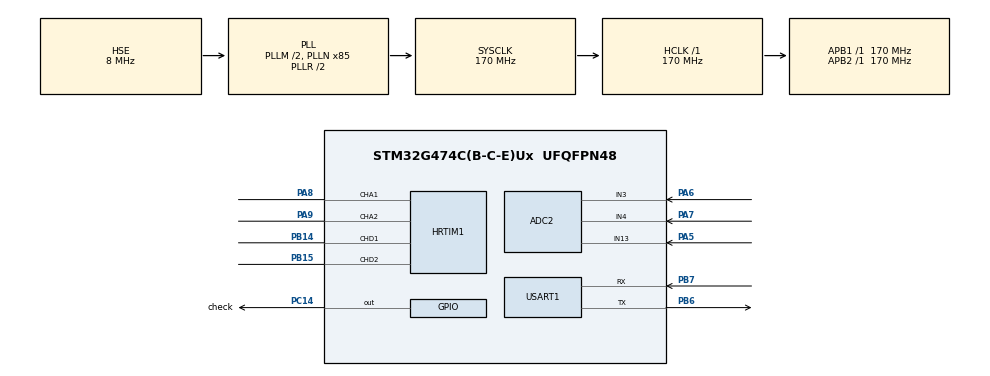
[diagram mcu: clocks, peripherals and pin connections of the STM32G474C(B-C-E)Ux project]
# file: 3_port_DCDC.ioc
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ADC2.Channel-0\#ChannelRegularConversion=ADC_CHANNEL_13
ADC2.Channel-1\#ChannelRegularConversion=ADC_CHANNEL_3
ADC2.Channel-2\#ChannelRegularConversion=ADC_CHANNEL_4
ADC2.DMAContinuousRequests=ENABLE
ADC2.EOCSelection=ADC_EOC_SEQ_CONV
ADC2.ExternalTrigConv=ADC_EXTERNALTRIG_T2_CC2
ADC2.NbrOfConversion=3
ADC2.NbrOfConversionFlag=1
ADC2.OffsetNumber-0\#ChannelRegularConversion=ADC_OFFSET_NONE
ADC2.OffsetNumber-1\#ChannelRegularConversion=ADC_OFFSET_NONE
ADC2.OffsetNumber-2\#ChannelRegularConversion=ADC_OFFSET_NONE
ADC2.OversamplingMode=DISABLE
ADC2.Rank-0\#ChannelRegularConversion=1
ADC2.Rank-1\#ChannelRegularConversion=2
ADC2.Rank-2\#ChannelRegularConversion=3
ADC2.SamplingTime-0\#ChannelRegularConversion=ADC_SAMPLETIME_47CYCLES_5
ADC2.SamplingTime-1\#ChannelRegularConversion=ADC_SAMPLETIME_47CYCLES_5
ADC2.SamplingTime-2\#ChannelRegularConversion=ADC_SAMPLETIME_47CYCLES_5
Dma.ADC2.0.Direction=DMA_PERIPH_TO_MEMORY
Dma.ADC2.0.EventEnable=DISABLE
Dma.ADC2.0.Instance=DMA1_Channel1
Dma.ADC2.0.MemDataAlignment=DMA_MDATAALIGN_HALFWORD
Dma.ADC2.0.MemInc=DMA_MINC_ENABLE
Dma.ADC2.0.Mode=DMA_CIRCULAR
Dma.ADC2.0.PeriphDataAlignment=DMA_PDATAALIGN_HALFWORD
Dma.ADC2.0.PeriphInc=DMA_PINC_DISABLE
Dma.ADC2.0.Polarity=HAL_DMAMUX_REQ_GEN_RISING
Dma.ADC2.0.Priority=DMA_PRIORITY_VERY_HIGH
Dma.ADC2.0.RequestNumber=1
Dma.ADC2.0.SignalID=NONE
Dma.ADC2.0.SyncEnable=DISABLE
Dma.ADC2.0.SyncPolarity=HAL_DMAMUX_SYNC_NO_EVENT
Dma.ADC2.0.SyncRequestNumber=1
Dma.ADC2.0.SyncSignalID=NONE
Dma.Request0=ADC2
HRTIM1.CompareUnit1-Output_TA1TA2=HRTIM_COMPAREUNIT_1
HRTIM1.CompareUnit1-Output_TD1TD2=HRTIM_COMPAREUNIT_1
HRTIM1.CompareUnit2-Output_TA1TA2=__NULL
HRTIM1.CompareValue1-Output_TA1TA2=30000
HRTIM1.CompareValue1-Output_TD1TD2=(65503*0.5)
HRTIM1.DeadTimeInsertion-Output_TA1TA2=HRTIM_TIMDEADTIMEINSERTION_ENABLED
HRTIM1.DeadTimeInsertion-Output_TD1TD2=HRTIM_TIMDEADTIMEINSERTION_ENABLED
HRTIM1.NumberInterruptRequests-Output_TA1TA2=0
HRTIM1.NumberResetSource1-Output_TA1TA2=1
HRTIM1.NumberResetSource1-Output_TD1TD2=1
HRTIM1.NumberSetSource1-Output_TA1TA2=1
HRTIM1.NumberSetSource1-Output_TD1TD2=1
HRTIM1.NumberUpdateTrigger-Output_TA1TA2=0
HRTIM1.Periode_TA=65503
HRTIM1.Periode_TD=65503
HRTIM1.PreloadEnable-Output_TA1TA2=HRTIM_PRELOAD_ENABLED
HRTIM1.PreloadEnable-Output_TD1TD2=HRTIM_PRELOAD_ENABLED
HRTIM1.PrescalerRatio_TA=HRTIM_PRESCALERRATIO_MUL16
HRTIM1.PrescalerRatio_TD=HRTIM_PRESCALERRATIO_MUL16
HRTIM1.RepetitionUpdate-Output_TA1TA2=HRTIM_UPDATEONREPETITION_ENABLED
HRTIM1.RepetitionUpdate-Output_TD1TD2=HRTIM_UPDATEONREPETITION_ENABLED
HRTIM1.ResetOutput1_Source1-Output_TA1TA2=HRTIM_OUTPUTRESET_TIMCMP1
HRTIM1.ResetOutput1_Source1-Output_TD1TD2=HRTIM_OUTPUTRESET_TIMCMP1
HRTIM1.SetOutput1_Source1-Output_TA1TA2=HRTIM_OUTPUTSET_TIMPER
HRTIM1.SetOutput1_Source1-Output_TD1TD2=HRTIM_OUTPUTSET_TIMPER
Mcu.Family=STM32G4
Mcu.Name=STM32G474C(B-C-E)Ux
Mcu.Package=UFQFPN48
NVIC.DMA1_Channel1_IRQn=true\:0\:0\:false\:false\:true\:false\:true\:true
NVIC.PriorityGroup=NVIC_PRIORITYGROUP_4
PA5.Mode=IN13-Single-Ended
PA5.Signal=ADC2_IN13
PA6.Mode=IN3-Single-Ended
PA6.Signal=ADC2_IN3
PA7.Mode=IN4-Single-Ended
PA7.Signal=ADC2_IN4
PA8.Mode=Output_TA1TA2
PA8.Signal=HRTIM1_CHA1
PA9.Mode=Output_TA1TA2
PA9.Signal=HRTIM1_CHA2
PB14.Mode=Output_TD1TD2
PB14.Signal=HRTIM1_CHD1
PB15.Mode=Output_TD1TD2
PB15.Signal=HRTIM1_CHD2
PB6.Mode=Asynchronous
PB6.Signal=USART1_TX
PB7.Mode=Asynchronous
PB7.Signal=USART1_RX
PC14-OSC32_IN.GPIO_Label=check
PC14-OSC32_IN.Signal=GPIO_Output
PF0-OSC_IN.Mode=HSE-External-Oscillator
PF0-OSC_IN.Signal=RCC_OSC_IN
PF1-OSC_OUT.Mode=HSE-External-Oscillator
PF1-OSC_OUT.Signal=RCC_OSC_OUT
ProjectManager.HeapSize=0x400
ProjectManager.StackSize=0x800
ProjectManager.TargetToolchain=MDK-ARM V5.32
RCC.ADC12Freq_Value=170000000
RCC.ADC345Freq_Value=170000000
RCC.AHBFreq_Value=170000000
RCC.APB1Freq_Value=170000000
RCC.APB1TimFreq_Value=170000000
RCC.APB2Freq_Value=170000000
RCC.APB2TimFreq_Value=170000000
RCC.CortexFreq_Value=170000000
RCC.EXTERNAL_CLOCK_VALUE=12288000
RCC.HCLKFreq_Value=170000000
RCC.HSE_VALUE=8000000
RCC.HSI48_VALUE=48000000
RCC.HSI_VALUE=16000000
RCC.LSE_VALUE=32768
RCC.PLLM=RCC_PLLM_DIV2
RCC.PLLN=85
RCC.PLLSourceVirtual=RCC_PLLSOURCE_HSE
RCC.SYSCLKFreq_VALUE=170000000
RCC.SYSCLKSource=RCC_SYSCLKSOURCE_PLLCLK
RCC.USBFreq_Value=170000000
RCC.VCOOutputFreq_Value=340000000
TIM2.AutoReloadPreload=TIM_AUTORELOAD_PRELOAD_ENABLE
TIM2.Channel-PWM\ Generation2\ No\ Output=TIM_CHANNEL_2
TIM2.OCFastMode_PWM-PWM\ Generation2\ No\ Output=TIM_OCFAST_ENABLE
TIM2.PeriodNoDither=1000000-1
TIM2.Prescaler=170-1
TIM2.PulseNoDither_2=1000
TIM2.TIM_MasterOutputTrigger=TIM_TRGO_OC2REF
USART1.VirtualMode-Asynchronous=VM_ASYNC
VP_SYS_VS_DBSignals.Mode=DisableDeadBatterySignals
VP_TIM2_VS_ClockSourceINT.Mode=Internal
VP_TIM2_VS_no_output2.Mode=PWM Generation2 No Output
board=custom

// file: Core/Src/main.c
/* USER CODE BEGIN Header */
/**
 ******************************************************************************
 * @file           : main.c
 * @brief          : Main program body
 ******************************************************************************
 * @attention
 *
 * Copyright (c) 2023 STMicroelectronics.
 * All rights reserved.
 *
 * This software is licensed under terms that can be found in the LICENSE file
 * in the root directory of this software component.
 * If no LICENSE file comes with this software, it is provided AS-IS.
 *
 ******************************************************************************
 */
/* USER CODE END Header */
#include "main.h"
#include "adc.h"
#include "dma.h"
#include "hrtim.h"
#include "tim.h"
#include "usart.h"
#include "gpio.h"

/* USER CODE BEGIN Includes */
#include "utils.h"
#include "arm_math.h"
/* USER CODE END Includes */

void SystemClock_Config(void);
/* USER CODE BEGIN PFP */
uint16_t adc_buffer[30] = {0};
#define adc_average(a, b, c, d, e) (((float)((a) + (b) + (c) + (d) + (e))) / 5.0f)
float VBus_Voltage = 0;
float V_battery = 0;
float I_battery = 0;
float duty_inspector = 0;
float R_inspector = 0;
float error_inspector = 0;
int counter = 0;
int perfom_counter = 0;

arm_pid_instance_f32 PID_Voltage = {
    .Kp = -100,
    .Ki = 100,
    .Kd = 0
};

int deadtime_rise = 40;
int deadtime_fall = 40;

/* USER CODE END PFP */

/* USER CODE BEGIN 0 */
float pid_process(arm_pid_instance_f32 *pid, float aim, float current, float out_max, float out_min)
{
  float out = 0;

  arm_pid_init_f32(pid, 0);

  error_inspector = (current - aim);

  out = arm_pid_f32(pid, (current - aim));

  // 进行pwm输出限幅

  if (out > out_max)
  {
    out = out_max;
  }
  else if (out < out_min)
  {
    out = out_min;
  }

  return out;
}
float mqtt_fake_value(float V, float I)
{
  return V / I;
}
typedef struct
{
  enum
  {
    MPPT_rising_step_len = 1,
    MPPT_falling_step_len = 1,
    MPPT_stable_step_len = 1,
  } step_len; // 步长

  // Power
  float Power_last;
  float Power_current;
  float delta_Power;
  float delta_Power_min_thereshold; // 配置参数

  // voltage
  float Voltage_last;
  float Voltage_current;
  float delta_Voltage;
  float delta_Voltage_min_thereshold; // 配置参数

  float out;
  float a; // 输出系数

  float step_size;
  float update_thereshold; // 因为adc有晃动，所以如果没有这个的话无法爬坡。

} MPPT_t;

MPPT_t mppt = {
    .a = -1000,
    .out = 65503,
    .delta_Voltage_min_thereshold = 0.01,
    .delta_Power_min_thereshold = 0.01,
    .step_size = -100,
    .update_thereshold = 0.02

};

float mppt_process(MPPT_t *mppt, float voltage, float power, float out_max, float out_min)
{
  float step_size = 0;
  step_size = mppt->step_size;
  mppt->Power_current = power;
  mppt->Voltage_current = voltage;

  mppt->delta_Power = mppt->Power_current - mppt->Power_last;
  mppt->delta_Voltage = mppt->Voltage_current - mppt->Voltage_last;

  //  if (fabs(mppt->delta_Voltage) > mppt->delta_Voltage_min_thereshold)
  //  {
  //    mppt->out = (mppt->out) + (mppt->a) * (mppt->delta_Power / mppt->delta_Voltage);
  //  }

  if (fabs(mppt->delta_Power) > mppt->update_thereshold)
  {
    if (mppt->delta_Power > mppt->delta_Power_min_thereshold)
    {
      mppt->out = mppt->out + mppt->step_size;
    }
    else
    {
      if (mppt->delta_Power < -mppt->delta_Power_min_thereshold)
      {
        mppt->step_size = -mppt->step_size;
        mppt->out = mppt->out + mppt->step_size;
      }
    }

    // update paramenter

    mppt->Power_last = mppt->Power_current;
    mppt->Voltage_last = mppt->Voltage_current;
  }

  // 进行pwm输出限幅
  if (mppt->out > out_max)
  {
    mppt->out = out_max;
  }
  else if (mppt->out < out_min)
  {
    mppt->out = out_min;
  }

  return (mppt->out);
}
float duty = 0.5;
float a = 4.065;
void HAL_ADC_ConvCpltCallback(ADC_HandleTypeDef *hadc)
{

  VBus_Voltage = adc_average(adc_buffer[0], adc_buffer[0 + 3], adc_buffer[0 + 2 * 3], adc_buffer[0 + 3 * 3], adc_buffer[0 + 4 * 3]) * 3.3f / 4096.0f * 21.8184f;
  V_battery = adc_average(adc_buffer[1], adc_buffer[1 + 3], adc_buffer[1 + 2 * 3], adc_buffer[1 + 3 * 3], adc_buffer[1 + 4 * 3]) * 3.3f / 4096.0f * 21.8184f;
  I_battery = (adc_average(adc_buffer[2], adc_buffer[2 + 3], adc_buffer[2 + 2 * 3], adc_buffer[2 + 3 * 3], adc_buffer[2 + 4 * 3]) * 3.3f / 4096.0f - 1.6052f) * 4.065; // 4.16f ;
  hhrtim1.Instance->sTimerxRegs[0].CMP1xR = (uint16_t)(pid_process(&PID_Voltage, 30, VBus_Voltage,
                                                                   0.98f * (hhrtim1.Instance->sTimerxRegs[0].PERxR),
                                                                   0.37f * (hhrtim1.Instance->sTimerxRegs[0].PERxR)));

  //    	 hhrtim1.Instance->sTimerxRegs[3].CMP1xR =duty*65503;
  hhrtim1.Instance->sTimerxRegs[3].CMP1xR = mppt_process(&mppt, V_battery, V_battery * I_battery,
                                                         0.98f * (hhrtim1.Instance->sTimerxRegs[0].PERxR),
                                                         0.3f * (hhrtim1.Instance->sTimerxRegs[0].PERxR));

  // HAL_GPIO_TogglePin(check_GPIO_Port, check_Pin);
  //  UART_printf(&huart1, "ADC:%f,%f,%f,%f\n", ((float)adc_buffer[0])*3.3f/4096.0f,((float)adc_buffer[1])*3.3f/4096.0f*1,((float)adc_buffer[2])*3.3f/4096.0f*1,((float)adc_buffer[3])*3.3f/4096.0f*1);
  // UART_printf(&huart1, "ADC:%f,%f\n",3.3f*((float)(adc_buffer[0]))/4096.0f,3.3f*((float)(adc_buffer[3]))/4096.0f);
  // UART_printf(&huart1, "ADC:%f\n", VBus_Voltage);

  duty_inspector = (float)hhrtim1.Instance->sTimerxRegs[3].CMP1xR / 65503.0f;
  R_inspector = V_battery / I_battery;
  //  perfom_counter = counter;
  //  counter = 0;
}

/* USER CODE END 0 */

int main(void)
{

  /* MCU Configuration--------------------------------------------------------*/

  /* Reset of all peripherals, Initializes the Flash interface and the Systick. */
  HAL_Init();

  /* Configure the system clock */
  SystemClock_Config();

  /* Initialize all configured peripherals */
  MX_GPIO_Init();
  MX_DMA_Init();
  MX_HRTIM1_Init();
  MX_TIM2_Init();
  MX_USART1_UART_Init();
  MX_ADC2_Init();

  /* Infinite loop */
  /* USER CODE BEGIN WHILE */

  // hrtim A
  HAL_HRTIM_WaveformCounterStart(&hhrtim1, HRTIM_TIMERID_TIMER_A);
  HAL_HRTIM_WaveformOutputStart(&hhrtim1, HRTIM_OUTPUT_TA1 | HRTIM_OUTPUT_TA2);
  hhrtim1.Instance->sTimerxRegs[0].PERxR = 65503;
  hhrtim1.Instance->sTimerxRegs[0].CMP1xR = (int)(0.98f * (65503.0f));

  // hrtim D
  HAL_HRTIM_WaveformCounterStart(&hhrtim1, HRTIM_TIMERID_TIMER_D);
  HAL_HRTIM_WaveformOutputStart(&hhrtim1, HRTIM_OUTPUT_TD1 | HRTIM_OUTPUT_TD2);
  hhrtim1.Instance->sTimerxRegs[3].PERxR = 65503;
  // hhrtim1.Instance->sTimerxRegs[3].CMP1xR = (int)(0.98f * (65503.0f));

  // TIM+ADC

  HAL_ADC_Start_DMA(&hadc2, (uint32_t *)adc_buffer, 3 * 5);
  TIM2->ARR = 10 - 1;
  TIM2->CCR2 = 2;
  HAL_TIM_PWM_Start(&htim2, TIM_CHANNEL_2);
  HAL_GPIO_WritePin(check_GPIO_Port, check_Pin, 1);

  // Dead time
  HRTIM1->sTimerxRegs[0].DTxR = ((deadtime_fall) << 16) | (deadtime_rise); // chanel A
  HRTIM1->sTimerxRegs[3].DTxR = ((deadtime_fall) << 16) | (deadtime_rise); // chanel D

  arm_pid_init_f32(&PID_Voltage, 1);
  while (1)
  {
    // counter = counter + 1;
    //  HRTIM1->sTimerxRegs[0].DTxR = ((deadtime_fall) << 16) | (deadtime_rise);

    // hhrtim1.Instance->sTimerxRegs[0].PERxR = 65503;
    // hhrtim1.Instance->sTimerxRegs[0].CMP1xR = 0.5f*(65503);
    // HAL_GPIO_TogglePin(check_GPIO_Port,check_Pin);
    // HAL_Delay(1000);
    /* USER CODE END WHILE */

  }
}

void SystemClock_Config(void)
{
  RCC_OscInitTypeDef RCC_OscInitStruct = {0};
  RCC_ClkInitTypeDef RCC_ClkInitStruct = {0};

  /** Configure the main internal regulator output voltage
   */
  HAL_PWREx_ControlVoltageScaling(PWR_REGULATOR_VOLTAGE_SCALE1_BOOST);

  /** Initializes the RCC Oscillators according to the specified parameters
   * in the RCC_OscInitTypeDef structure.
   */
  RCC_OscInitStruct.OscillatorType = RCC_OSCILLATORTYPE_HSE;
  RCC_OscInitStruct.HSEState = RCC_HSE_ON;
  RCC_OscInitStruct.PLL.PLLState = RCC_PLL_ON;
  RCC_OscInitStruct.PLL.PLLSource = RCC_PLLSOURCE_HSE;
  RCC_OscInitStruct.PLL.PLLM = RCC_PLLM_DIV2;
  RCC_OscInitStruct.PLL.PLLN = 85;
  RCC_OscInitStruct.PLL.PLLP = RCC_PLLP_DIV2;
  RCC_OscInitStruct.PLL.PLLQ = RCC_PLLQ_DIV2;
  RCC_OscInitStruct.PLL.PLLR = RCC_PLLR_DIV2;
  if (HAL_RCC_OscConfig(&RCC_OscInitStruct) != HAL_OK)
  {
    Error_Handler();
  }

  /** Initializes the CPU, AHB and APB buses clocks
   */
  RCC_ClkInitStruct.ClockType = RCC_CLOCKTYPE_HCLK | RCC_CLOCKTYPE_SYSCLK | RCC_CLOCKTYPE_PCLK1 | RCC_CLOCKTYPE_PCLK2;
  RCC_ClkInitStruct.SYSCLKSource = RCC_SYSCLKSOURCE_PLLCLK;
  RCC_ClkInitStruct.AHBCLKDivider = RCC_SYSCLK_DIV1;
  RCC_ClkInitStruct.APB1CLKDivider = RCC_HCLK_DIV1;
  RCC_ClkInitStruct.APB2CLKDivider = RCC_HCLK_DIV1;

  if (HAL_RCC_ClockConfig(&RCC_ClkInitStruct, FLASH_LATENCY_4) != HAL_OK)
  {
    Error_Handler();
  }
}

void Error_Handler(void)
{
  __disable_irq();
  while (1)
  {
  }
}
